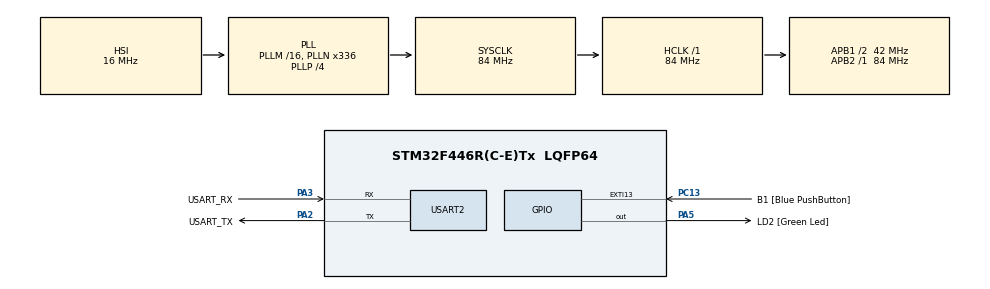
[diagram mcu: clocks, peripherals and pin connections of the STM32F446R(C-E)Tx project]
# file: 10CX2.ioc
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Dma.Request0=USART2_TX
Dma.USART2_TX.0.Direction=DMA_MEMORY_TO_PERIPH
Dma.USART2_TX.0.FIFOMode=DMA_FIFOMODE_DISABLE
Dma.USART2_TX.0.Instance=DMA1_Stream6
Dma.USART2_TX.0.MemDataAlignment=DMA_MDATAALIGN_BYTE
Dma.USART2_TX.0.MemInc=DMA_MINC_ENABLE
Dma.USART2_TX.0.Mode=DMA_NORMAL
Dma.USART2_TX.0.PeriphDataAlignment=DMA_PDATAALIGN_BYTE
Dma.USART2_TX.0.PeriphInc=DMA_PINC_DISABLE
Dma.USART2_TX.0.Priority=DMA_PRIORITY_LOW
Mcu.Family=STM32F4
Mcu.Name=STM32F446R(C-E)Tx
Mcu.Package=LQFP64
NVIC.DMA1_Stream6_IRQn=true\:0\:0\:false\:false\:true\:false\:true\:true
NVIC.EXTI15_10_IRQn=true\:0\:0\:false\:false\:true\:true\:true\:true
NVIC.PriorityGroup=NVIC_PRIORITYGROUP_0
NVIC.USART2_IRQn=true\:0\:0\:false\:false\:true\:true\:true\:true
PA13.GPIO_Label=TMS
PA13.Signal=SYS_JTMS-SWDIO
PA14.GPIO_Label=TCK
PA14.Signal=SYS_JTCK-SWCLK
PA2.GPIO_Label=USART_TX
PA2.Mode=Asynchronous
PA2.Signal=USART2_TX
PA3.GPIO_Label=USART_RX
PA3.Mode=Asynchronous
PA3.Signal=USART2_RX
PA5.GPIO_Label=LD2 [Green Led]
PA5.Signal=GPIO_Output
PB3.GPIO_Label=SWO
PB3.Signal=SYS_JTDO-SWO
PC13.GPIO_Label=B1 [Blue PushButton]
PC13.GPIO_ModeDefaultEXTI=GPIO_MODE_IT_FALLING
PC13.Signal=GPXTI13
PC14-OSC32_IN.Signal=RCC_OSC32_IN
PC15-OSC32_OUT.Signal=RCC_OSC32_OUT
PH0-OSC_IN.Signal=RCC_OSC_IN
PH1-OSC_OUT.Signal=RCC_OSC_OUT
ProjectManager.HeapSize=0x200
ProjectManager.StackSize=0x400
ProjectManager.TargetToolchain=STM32CubeIDE
RCC.AHBFreq_Value=84000000
RCC.APB1CLKDivider=RCC_HCLK_DIV2
RCC.APB1Freq_Value=42000000
RCC.APB1TimFreq_Value=84000000
RCC.APB2Freq_Value=84000000
RCC.APB2TimFreq_Value=84000000
RCC.CortexFreq_Value=84000000
RCC.FLatency-AdvancedSettings=FLASH_LATENCY_2
RCC.HCLKFreq_Value=84000000
RCC.HSE_VALUE=8000000
RCC.HSI_VALUE=16000000
RCC.LSE_VALUE=32768
RCC.PLLN=336
RCC.PLLP=RCC_PLLP_DIV4
RCC.SYSCLKFreq_VALUE=84000000
RCC.SYSCLKSource=RCC_SYSCLKSOURCE_PLLCLK
RCC.USBFreq_Value=168000000
RCC.VCOOutputFreq_Value=336000000
USART2.VirtualMode=VM_ASYNC
board=NUCLEO-F446RE

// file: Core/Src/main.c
/* USER CODE BEGIN Header */
/**
  ******************************************************************************
  * @file           : main.c
  * @brief          : Main program body
  ******************************************************************************
  * @attention
  *
  * Copyright (c) 2025 STMicroelectronics.
  * All rights reserved.
  *
  * This software is licensed under terms that can be found in the LICENSE file
  * in the root directory of this software component.
  * If no LICENSE file comes with this software, it is provided AS-IS.
  *
  ******************************************************************************
  */
/* USER CODE END Header */
#include "main.h"

/* USER CODE BEGIN Includes */
#include <stdio.h>
#include <string.h>

/* USER CODE END Includes */

UART_HandleTypeDef huart2;
DMA_HandleTypeDef hdma_usart2_tx;

/* USER CODE BEGIN PV */

char chBuffer[] = {"Sponsor’s Prize (300 Euro) was awarded by NANOTEAM to Razvan Hirian, from Faculty of Physics, Babeş-Bolyai University, Cluj-Napoca, Romania, for the poster presentation delivered by a young scientist entitled: Properties of 3D Printed Magnets, Obtained Using SmCo5/Fe Magnetic Nanocomposite Powders.\
Primalab awarded Geza Lazar, PhD student from Biomolecular Physics Department, Babeş-Bolyai University, for the oral presentation (200 Euro) entitled: Effects of ocean acidification on the morphology and structure of Hexaplex trunculus sea snail shell biomaterial revealed by Raman, XRD AND SEM-EDX data.\
Association ICPAMS awarded a group from Faculty of Physics, Babeş-Bolyai University, Cluj-Napoca, Romania, for the oral presentation (300 Euro) entitled: Structural, morphological and magnetic study of Co1-xMxFe2O4 (M = Ni, Zn, Mn) obtained through a green, sucrose based, sol-gel method.\
Ioana Marica was awarded the Prize of the conference host, The University of Dubrovnik for the best poster presentation of young scientists, “T14-P: A sustainable plastic waste initiative from macro- to microplastics based on Raman spectroscopy technique”, authors I. Marica*, I. Nesterovschi, S. Cîntã Pînzaru;"};

uint8_t ui8NewButton = 0;

/* USER CODE END PV */

void SystemClock_Config(void);
static void MX_GPIO_Init(void);
static void MX_DMA_Init(void);
static void MX_USART2_UART_Init(void);

int main(void)
{

  /* MCU Configuration--------------------------------------------------------*/

  /* Reset of all peripherals, Initializes the Flash interface and the Systick. */
  HAL_Init();

  /* Configure the system clock */
  SystemClock_Config();

  /* Initialize all configured peripherals */
  MX_GPIO_Init();
  MX_DMA_Init();
  MX_USART2_UART_Init();

  /* Infinite loop */
  /* USER CODE BEGIN WHILE */
  while (1)
  {
	  if(ui8NewButton)
	  {
		  ui8NewButton = 0;
		  HAL_UART_Transmit_DMA(&huart2, (uint8_t*)chBuffer, strlen(chBuffer));
	  }

    /* USER CODE END WHILE */

  }
}

void SystemClock_Config(void)
{
  RCC_OscInitTypeDef RCC_OscInitStruct = {0};
  RCC_ClkInitTypeDef RCC_ClkInitStruct = {0};

  /** Configure the main internal regulator output voltage
  */
  __HAL_RCC_PWR_CLK_ENABLE();
  __HAL_PWR_VOLTAGESCALING_CONFIG(PWR_REGULATOR_VOLTAGE_SCALE3);

  /** Initializes the RCC Oscillators according to the specified parameters
  * in the RCC_OscInitTypeDef structure.
  */
  RCC_OscInitStruct.OscillatorType = RCC_OSCILLATORTYPE_HSI;
  RCC_OscInitStruct.HSIState = RCC_HSI_ON;
  RCC_OscInitStruct.HSICalibrationValue = RCC_HSICALIBRATION_DEFAULT;
  RCC_OscInitStruct.PLL.PLLState = RCC_PLL_ON;
  RCC_OscInitStruct.PLL.PLLSource = RCC_PLLSOURCE_HSI;
  RCC_OscInitStruct.PLL.PLLM = 16;
  RCC_OscInitStruct.PLL.PLLN = 336;
  RCC_OscInitStruct.PLL.PLLP = RCC_PLLP_DIV4;
  RCC_OscInitStruct.PLL.PLLQ = 2;
  RCC_OscInitStruct.PLL.PLLR = 2;
  if (HAL_RCC_OscConfig(&RCC_OscInitStruct) != HAL_OK)
  {
    Error_Handler();
  }

  /** Initializes the CPU, AHB and APB buses clocks
  */
  RCC_ClkInitStruct.ClockType = RCC_CLOCKTYPE_HCLK|RCC_CLOCKTYPE_SYSCLK
                              |RCC_CLOCKTYPE_PCLK1|RCC_CLOCKTYPE_PCLK2;
  RCC_ClkInitStruct.SYSCLKSource = RCC_SYSCLKSOURCE_PLLCLK;
  RCC_ClkInitStruct.AHBCLKDivider = RCC_SYSCLK_DIV1;
  RCC_ClkInitStruct.APB1CLKDivider = RCC_HCLK_DIV2;
  RCC_ClkInitStruct.APB2CLKDivider = RCC_HCLK_DIV1;

  if (HAL_RCC_ClockConfig(&RCC_ClkInitStruct, FLASH_LATENCY_2) != HAL_OK)
  {
    Error_Handler();
  }
}

static void MX_USART2_UART_Init(void)
{

  huart2.Instance = USART2;
  huart2.Init.BaudRate = 115200;
  huart2.Init.WordLength = UART_WORDLENGTH_8B;
  huart2.Init.StopBits = UART_STOPBITS_1;
  huart2.Init.Parity = UART_PARITY_NONE;
  huart2.Init.Mode = UART_MODE_TX_RX;
  huart2.Init.HwFlowCtl = UART_HWCONTROL_NONE;
  huart2.Init.OverSampling = UART_OVERSAMPLING_16;
  if (HAL_UART_Init(&huart2) != HAL_OK)
  {
    Error_Handler();
  }

}

static void MX_DMA_Init(void)
{

  /* DMA controller clock enable */
  __HAL_RCC_DMA1_CLK_ENABLE();

  /* DMA interrupt init */
  /* DMA1_Stream6_IRQn interrupt configuration */
  HAL_NVIC_SetPriority(DMA1_Stream6_IRQn, 0, 0);
  HAL_NVIC_EnableIRQ(DMA1_Stream6_IRQn);

}

static void MX_GPIO_Init(void)
{
  GPIO_InitTypeDef GPIO_InitStruct = {0};

  /* GPIO Ports Clock Enable */
  __HAL_RCC_GPIOC_CLK_ENABLE();
  __HAL_RCC_GPIOH_CLK_ENABLE();
  __HAL_RCC_GPIOA_CLK_ENABLE();
  __HAL_RCC_GPIOB_CLK_ENABLE();

  /*Configure GPIO pin Output Level */
  HAL_GPIO_WritePin(LD2_GPIO_Port, LD2_Pin, GPIO_PIN_RESET);

  /*Configure GPIO pin : B1_Pin */
  GPIO_InitStruct.Pin = B1_Pin;
  GPIO_InitStruct.Mode = GPIO_MODE_IT_FALLING;
  GPIO_InitStruct.Pull = GPIO_NOPULL;
  HAL_GPIO_Init(B1_GPIO_Port, &GPIO_InitStruct);

  /*Configure GPIO pin : LD2_Pin */
  GPIO_InitStruct.Pin = LD2_Pin;
  GPIO_InitStruct.Mode = GPIO_MODE_OUTPUT_PP;
  GPIO_InitStruct.Pull = GPIO_NOPULL;
  GPIO_InitStruct.Speed = GPIO_SPEED_FREQ_LOW;
  HAL_GPIO_Init(LD2_GPIO_Port, &GPIO_InitStruct);

  /* EXTI interrupt init*/
  HAL_NVIC_SetPriority(EXTI15_10_IRQn, 0, 0);
  HAL_NVIC_EnableIRQ(EXTI15_10_IRQn);

}

/* USER CODE BEGIN 4 */

void HAL_GPIO_EXTI_Callback(uint16_t GPIO_Pin)
{
  /* Prevent unused argument(s) compilation warning */
  UNUSED(GPIO_Pin);
  /* NOTE: This function Should not be modified, when the callback is needed,
           the HAL_GPIO_EXTI_Callback could be implemented in the user file
   */
  ui8NewButton = 1;
}

void HAL_UART_TxCpltCallback(UART_HandleTypeDef *huart)
{
  /* Prevent unused argument(s) compilation warning */
  UNUSED(huart);
  /* NOTE: This function should not be modified, when the callback is needed,
           the HAL_UART_TxCpltCallback could be implemented in the user file
   */
  return;
}

/* USER CODE END 4 */

void Error_Handler(void)
{
  __disable_irq();
  while (1)
  {
  }
}
